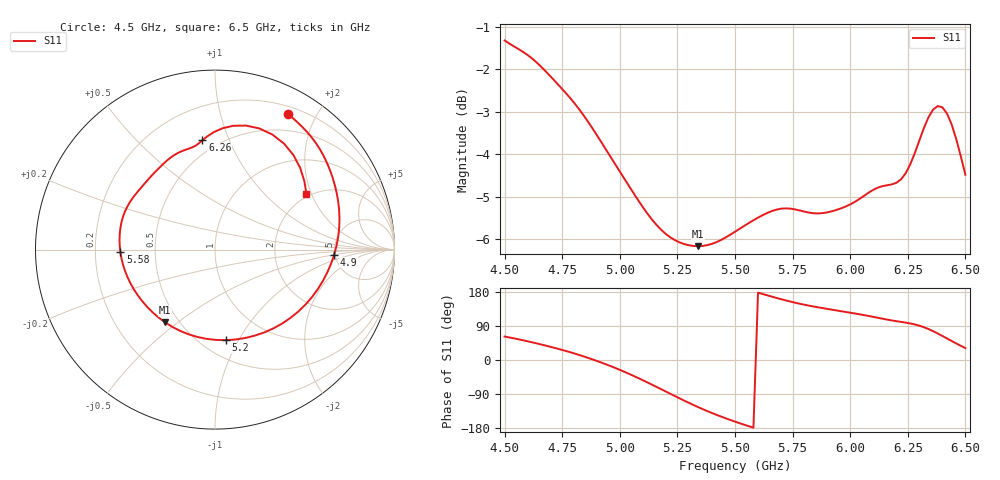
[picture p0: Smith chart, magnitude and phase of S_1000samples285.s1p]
! TOUCHSTONE file generated by CST MICROWAVE STUDIO
! Date and time: Thu Oct 27 15:22:09 2022
! Project name: L.cst
! Parameters = {Di=1.27; Epsilon_r=1.56; InnerDiameter=1.27; Length=2; Lf=10; Lg=60; OuterConductorThickness=0.2921; OuterDiameter=3.6; Wf=3; Wp=41.2; de=1.5; df=6.8; g=0.8; gx=3.08018; gy=1.14644; h=2.34; hf=1.524; px=12.4641; py=11.8339; w=9.7; wx=9.38395; wy=10.6874}
! Header version: 2018
! Port assignment regex: !\s*Touchstone port\s*([0-9]+)\s*=\s*(CST MWS port|CST DS port)\s*([0-9]+|Zmin|Zmax)\s*\(\"(.*)\"\)(\s*mode\s*([0-9]+))?.*
! Touchstone port assignment:
! Touchstone port 1 = CST MWS port 1 ("")
# GHz S DB R 50
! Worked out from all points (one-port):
!   101 points, 4.5 GHz to 6.5 GHz, reference 50 ohm
!   lowest |S11| = -6.2 dB at 5.34 GHz (marker M1), VSWR 2.93, Z = 21.1 - j22.6 ohm
!   |S11| at or under -10 dB: nowhere
!   S11 on the Smith chart (normalised r, x): 4.5 GHz: 0.28, +1.63; 4.9 GHz: 4.91, -0.50; 5.2 GHz: 0.65, -0.89; 5.58 GHz: 0.31, -0.01; 6.26 GHz: 0.41, +0.80; 6.5 GHz: 1.91, +1.84
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4.5  -1.32 61.9
4.62  -1.75 46.6
4.68  -2.06 37.7
4.76  -2.53 24.9
4.84  -3.06 10.1
4.9  -3.55 -2.4
5  -4.41 -26.0
5.1  -5.25 -53.4
5.16  -5.67 -71.2
5.2  -5.88 -83.2
5.26  -6.08 -101.4
5.34  -6.17 -124.4
5.42  -6.07 -144.7
5.5  -5.83 -162.6
5.58  -5.56 -178.5
5.66  -5.34 167.2
5.76  -5.30 151.3
5.84  -5.39 141.3
6  -5.18 124.8
6.08  -4.91 116.2
6.26  -4.25 96.5
6.32  -3.38 86.5
6.36  -2.95 76.0
6.38  -2.87 69.9
6.4  -2.90 63.5
6.44  -3.30 50.3
6.46  -3.64 43.8
6.5  -4.49 31.4
